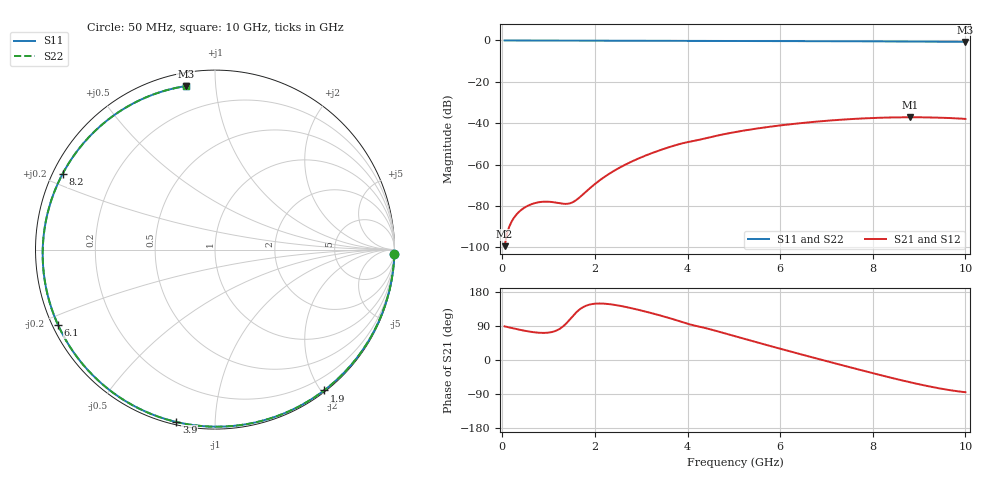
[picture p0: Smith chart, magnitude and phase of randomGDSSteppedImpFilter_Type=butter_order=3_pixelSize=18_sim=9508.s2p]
! freq	dB(S11)	phase(S11)	dB(S12)	phase(S12)
!  dB(S21)	phase(S21)	dB(S22)	phase(S22)
!S-par simulation data
#  GHz  S  DB  R 50
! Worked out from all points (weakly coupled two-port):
!   200 points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, 50 MHz to 10 GHz, reference 50 ohm
!   highest |S21| = -37.13 dB at 8.8 GHz (marker M1); lowest = -99.4 dB at 50 MHz (marker M2)
!   lowest |S11| = -0.7 dB at 10 GHz (marker M3), VSWR 25.83, Z = 3.29 + j41.8 ohm
!   |S11| at or under -10 dB: nowhere
!   |S22| runs from -0.7 to 0.0 dB; largest |S21 - S12| = 0
!   S11 on the Smith chart (normalised r, x): 50 MHz: 1, -80; 1.9 GHz: 0.02, -2.04; 3.9 GHz: 0.01, -0.80; 6.1 GHz: 0.02, -0.23; 8.2 GHz: 0.03, +0.23; 10 GHz: 0.07, +0.84
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0.05  -0.00 -1.4  -99.44 88.8  -99.44 88.8  -0.00 -1.4
0.55  -0.02 -15.4  -79.93 75.7  -79.93 75.7  -0.02 -15.5
0.9  -0.03 -25.2  -77.95 71.5  -77.95 71.5  -0.03 -25.2
1.4  -0.05 -38.9  -78.98 98.9  -78.98 98.9  -0.05 -38.9
1.55  -0.05 -42.9  -77.84 119.6  -77.84 119.6  -0.05 -42.9
1.75  -0.06 -48.3  -74.26 139.8  -74.26 139.8  -0.06 -48.3
1.9  -0.07 -52.3  -71.27 146.7  -71.27 146.7  -0.07 -52.3
2.2  -0.08 -60.2  -66.06 148.6  -66.06 148.6  -0.08 -60.2
2.55  -0.09 -69.2  -61.28 142.8  -61.28 142.8  -0.09 -69.2
2.95  -0.10 -79.4  -56.98 132.1  -56.98 132.1  -0.10 -79.4
3.4  -0.12 -90.5  -53.08 117.9  -53.08 117.9  -0.12 -90.5
3.9  -0.14 -102.6  -49.67 99.6  -49.67 99.6  -0.14 -102.7
4.45  -0.16 -115.7  -46.96 82.3  -46.96 82.3  -0.16 -115.7
5.05  -0.19 -129.8  -44.21 62.0  -44.21 62.0  -0.19 -129.8
6.1  -0.26 -154.2  -40.81 26.5  -40.81 26.5  -0.26 -154.2
6.7  -0.31 -168.5  -39.41 6.8  -39.41 6.8  -0.31 -168.5
7.45  -0.38 173.1  -38.11 -17.4  -38.11 -17.4  -0.38 173.1
8.2  -0.46 153.6  -37.34 -40.9  -37.34 -40.9  -0.46 153.6
8.35  -0.48 149.5  -37.25 -45.5  -37.25 -45.5  -0.48 149.5
8.8  -0.53 136.9  -37.13 -58.6  -37.13 -58.6  -0.53 136.9
9.45  -0.61 117.5  -37.34 -75.1  -37.34 -75.1  -0.61 117.5
10  -0.67 100.1  -37.93 -85.0  -37.93 -85.0  -0.67 100.1
